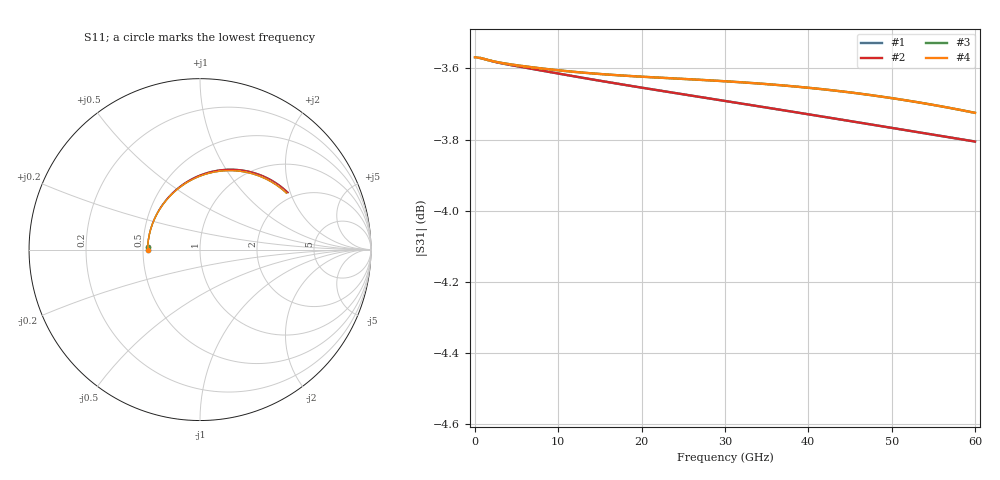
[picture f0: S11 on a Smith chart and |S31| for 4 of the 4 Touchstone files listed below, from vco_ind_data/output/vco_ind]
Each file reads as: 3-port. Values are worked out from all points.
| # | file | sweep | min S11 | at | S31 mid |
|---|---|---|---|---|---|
| 1 | vco_ind.s3p | 10 MHz to 60 GHz | -10.3 dB | 10 MHz | -3.7 dB at 30 GHz |
| 2 | vco_ind_dc.s3p | 731.7 MHz to 60 GHz | -10.3 dB | 731.7 MHz | -3.7 dB at 30.73 GHz |
| 3 | vco_ind_dc_deembedded.s3p | 731.7 MHz to 60 GHz | -10.3 dB | 731.7 MHz | -3.6 dB at 30.73 GHz |
| 4 | vco_ind_deembedded.s3p | 10 MHz to 60 GHz | -10.3 dB | 10 MHz | -3.6 dB at 30 GHz |
